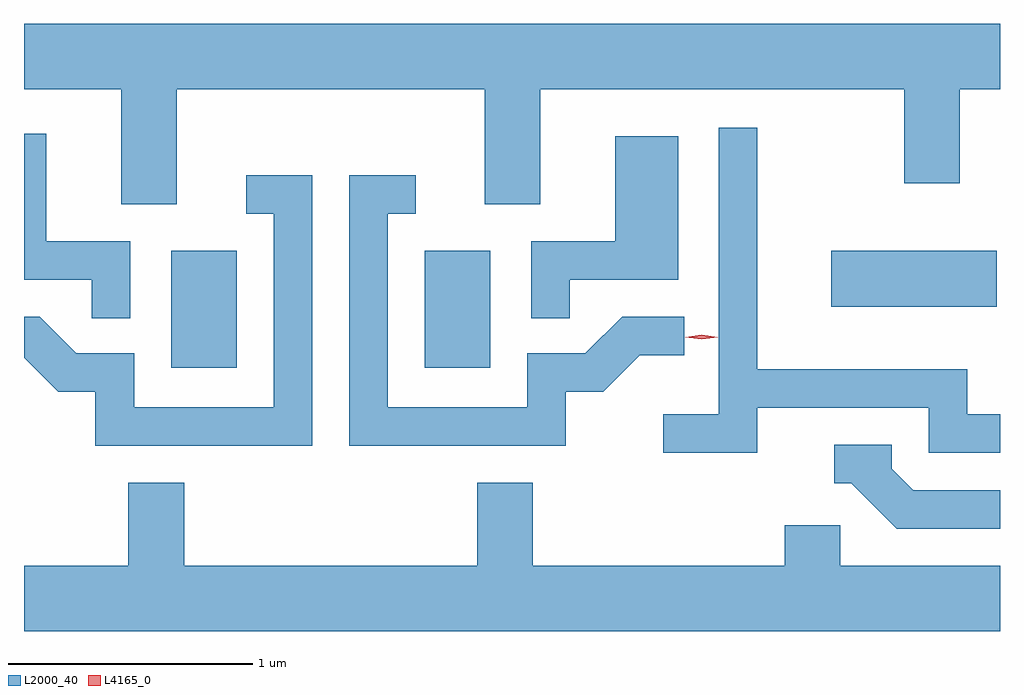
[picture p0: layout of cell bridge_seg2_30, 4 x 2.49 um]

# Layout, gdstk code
import gdstk
lib = gdstk.Library(unit=1e-6, precision=1e-09)
def R(c, l, rs):  # rectangles x0, y0, x1, y1
    for r in rs: c.add(gdstk.rectangle(r[:2], r[2:], *l))
def P(c, l, *ps):  # polygons
    for p in ps: c.add(gdstk.Polygon(p, *l))
L2000_40 = (2000, 40)
L4165_0 = (4165, 0)

bridge_seg2_30 = lib.new_cell('bridge_seg2_30')
R(bridge_seg2_30, L2000_40, [(1568.016,1000.556,1568.284,1001.034), (1569.056,1000.556,1569.324,1001.034), (1570.721,1000.806,1571.399,1001.034)])
P(bridge_seg2_30, L2000_40, [(1568.039,1001.696),(1569.301,1001.696),(1569.301,1001.226),(1569.529,1001.226),(1569.529,1001.696),(1571.021,1001.696),(1571.021,1001.311),(1571.249,1001.311),(1571.249,1001.696),(1571.413,1001.696),(1571.413,1001.964),(1567.413,1001.964),(1567.413,1001.696),(1567.811,1001.696),(1567.811,1001.226),(1568.039,1001.226)],
  [(1570.419,1000.391),(1571.121,1000.391),(1571.121,1000.206),(1571.413,1000.206),(1571.413,1000.364),(1571.279,1000.364),(1571.279,1000.549),(1570.419,1000.549),(1570.419,1001.538),(1570.261,1001.538),(1570.261,1000.364),(1570.033,1000.364),(1570.033,1000.206),(1570.419,1000.206)],
  [(1567.849,1001.074),(1567.504,1001.074),(1567.504,1001.514),(1567.413,1001.514),(1567.413,1000.916),(1567.691,1000.916),(1567.691,1000.758),(1567.849,1000.758)],
  [(1569.649,1000.916),(1570.094,1000.916),(1570.094,1001.504),(1569.836,1001.504),(1569.836,1001.074),(1569.491,1001.074),(1569.491,1000.758),(1569.649,1000.758)],
  [(1568.594,1001.344),(1568.323,1001.344),(1568.323,1001.186),(1568.436,1001.186),(1568.436,1000.394),(1567.864,1000.394),(1567.864,1000.614),(1567.627,1000.614),(1567.477,1000.764),(1567.413,1000.764),(1567.413,1000.597),(1567.554,1000.456),(1567.706,1000.456),(1567.706,1000.236),(1568.594,1000.236)],
  [(1569.634,1000.456),(1569.787,1000.456),(1569.937,1000.606),(1570.118,1000.606),(1570.118,1000.764),(1569.864,1000.764),(1569.714,1000.614),(1569.476,1000.614),(1569.476,1000.394),(1568.904,1000.394),(1568.904,1001.186),(1569.018,1001.186),(1569.018,1001.344),(1568.746,1001.344),(1568.746,1000.236),(1569.634,1000.236)],
  [(1571.413,1000.054),(1571.057,1000.054),(1570.969,1000.142),(1570.969,1000.239),(1570.733,1000.239),(1570.733,1000.081),(1570.804,1000.081),(1570.989,999.896),(1571.413,999.896)],
  [(1571.413,999.744),(1570.759,999.744),(1570.759,999.909),(1570.531,999.909),(1570.531,999.744),(1569.499,999.744),(1569.499,1000.084),(1569.271,1000.084),(1569.271,999.744),(1568.069,999.744),(1568.069,1000.084),(1567.841,1000.084),(1567.841,999.744),(1567.413,999.744),(1567.413,999.476),(1571.413,999.476)])
P(bridge_seg2_30, L4165_0, [(1570.19,1000.671),(1570.123,1000.68),(1570.123,1000.681),(1570.123,1000.681),(1570.19,1000.691),(1570.256,1000.681),(1570.256,1000.681),(1570.256,1000.68)])

lib.write_gds('bridge_seg2_30.gds')
